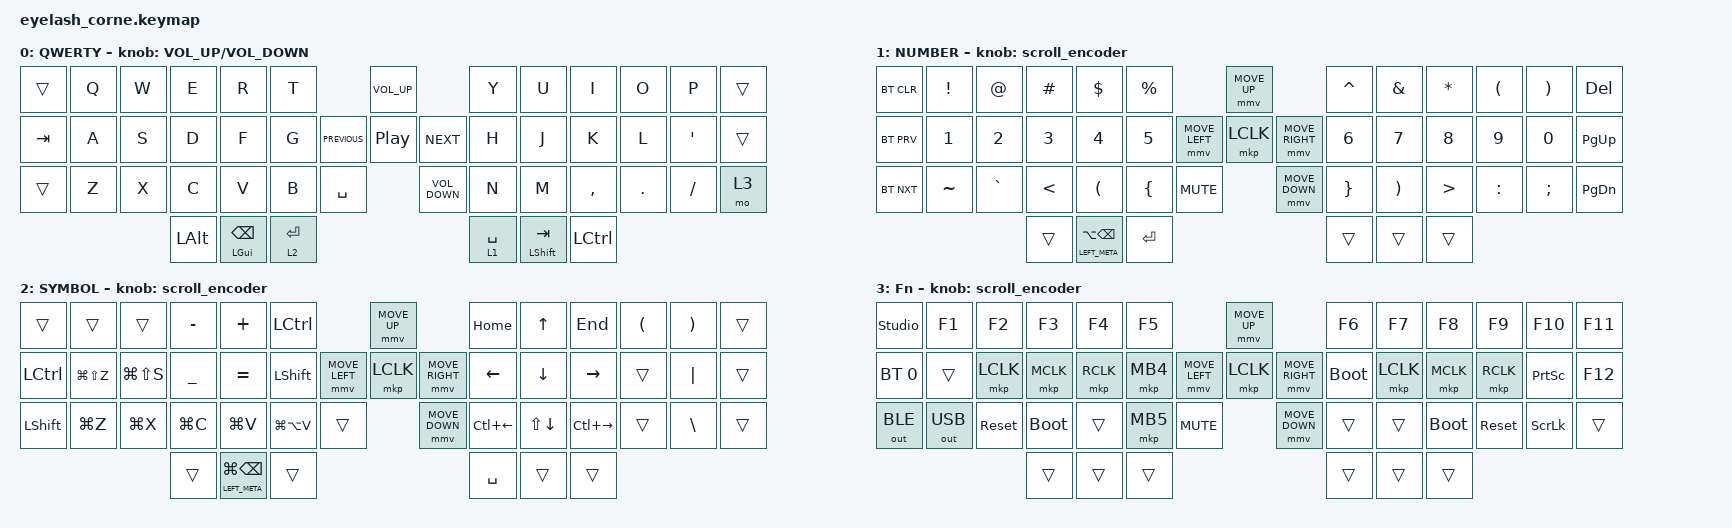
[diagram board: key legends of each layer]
#define ZMK_POINTING_DEFAULT_MOVE_VAL 1200  // 600
#define ZMK_POINTING_DEFAULT_SCRL_VAL 25   // 10

#include <input/processors.dtsi>
#include <zephyr/dt-bindings/input/input-event-codes.h>
#include <behaviors.dtsi>
#include <dt-bindings/zmk/bt.h>
#include <dt-bindings/zmk/keys.h>
#include <dt-bindings/zmk/outputs.h>
#include <dt-bindings/zmk/pointing.h>
#include <dt-bindings/zmk/rgb.h>

&mmv_input_listener { input-processors = <&zip_xy_scaler 2 1>; };

&msc_input_listener { input-processors = <&zip_scroll_scaler 2 1>; };

&msc {
    acceleration-exponent = <1>;      // 0
    time-to-max-speed-ms = <100>;       // 300
    delay-ms = <0>;                   // 0
};

&mmv {
    time-to-max-speed-ms = <500>;
    acceleration-exponent = <1>;
    trigger-period-ms = <16>;
};

/ {
    behaviors {
        td0: td0 {
            compatible = "zmk,behavior-tap-dance";
            display-name = "Shift/Caps Lock Tap Dance";
            #binding-cells = <0>;
            bindings = <&kp LEFT_SHIFT>, <&kp CAPS>;
        };
    };

    rgb_encoder: rgb_encoder {
        compatible = "zmk,behavior-sensor-rotate";
        #sensor-binding-cells = <0>;
        bindings = <&rgb_ug RGB_BRI>, <&rgb_ug RGB_BRD>;
    };

    scroll_encoder: scroll_encoder {
        compatible = "zmk,behavior-sensor-rotate";
        #sensor-binding-cells = <0>;
        bindings = <&msc SCRL_DOWN>, <&msc SCRL_UP>;

        tap-ms = <100>;
    };

    combos {
        compatible = "zmk,combos";

        esc-jk {
            bindings = <&kp ESCAPE>;
            key-positions = <23 24>;
        };
    };

    keymap {
        compatible = "zmk,keymap";

        default_layer {
            display-name = "QWERTY";
            bindings = <
&trans   &kp Q  &kp W  &kp E         &kp R                   &kp T                                     &kp C_VOLUME_UP                &kp Y        &kp U               &kp I             &kp O    &kp P     &trans
&kp TAB  &kp A  &kp S  &kp D         &kp F                   &kp G                     &kp C_PREVIOUS  &kp C_PLAY_PAUSE   &kp C_NEXT  &kp H        &kp J               &kp K             &kp L    &kp SQT   &trans
&trans   &kp Z  &kp X  &kp C         &kp V                   &kp B        &kp SPACE                    &kp C_VOLUME_DOWN              &kp N        &kp M               &kp COMMA         &kp DOT  &kp FSLH  &mo 3
                       &kp LEFT_ALT  &mt LEFT_GUI BACKSPACE  &lt 2 ENTER                                                              &lt 1 SPACE  &mt LEFT_SHIFT TAB  &kp LEFT_CONTROL
            >;

            sensor-bindings = <&inc_dec_kp C_VOLUME_UP C_VOLUME_DOWN>;
        };

        lower_layer {
            display-name = "NUMBER";
            bindings = <
&bt BT_CLR  &kp EXCLAMATION  &kp AT_SIGN   &kp HASH       &kp DOLLAR                   &kp PERCENT                                   &mmv MOVE_UP                     &kp CARET        &kp AMPERSAND          &kp ASTERISK      &kp LEFT_PARENTHESIS  &kp RIGHT_PARENTHESIS  &kp DEL
&bt BT_PRV  &kp NUMBER_1     &kp NUMBER_2  &kp NUMBER_3   &kp NUMBER_4                 &kp NUMBER_5                  &mmv MOVE_LEFT  &mkp LCLK       &mmv MOVE_RIGHT  &kp NUMBER_6     &kp N7                 &kp N8            &kp N9                &kp N0                 &kp PG_UP
&bt BT_NXT  &kp TILDE        &kp GRAVE     &kp LESS_THAN  &kp LEFT_PARENTHESIS         &kp LEFT_BRACE  &kp C_MUTE                    &mmv MOVE_DOWN                   &kp RIGHT_BRACE  &kp RIGHT_PARENTHESIS  &kp GREATER_THAN  &kp COLON             &kp SEMICOLON          &kp PG_DN
                                           &trans         &mt LEFT_META LA(BACKSPACE)  &kp ENTER                                                                      &trans           &trans                 &trans
            >;

            sensor-bindings = <&scroll_encoder>;
        };

        raise_layer {
            display-name = "SYMBOL";
            bindings = <
&trans          &trans         &trans         &kp MINUS       &kp PLUS                     &kp LCTRL                                 &mmv MOVE_UP                     &kp HOME      &kp UP_ARROW        &kp END        &kp LPAR  &kp RPAR       &trans
&kp LCTRL       &kp LG(LS(Z))  &kp LG(LS(S))  &kp UNDERSCORE  &kp EQUAL                    &kp LEFT_SHIFT            &mmv MOVE_LEFT  &mkp LCLK       &mmv MOVE_RIGHT  &kp LEFT      &kp DOWN            &kp RIGHT      &trans    &kp PIPE       &trans
&kp LEFT_SHIFT  &kp LG(Z)      &kp LG(X)      &kp LG(C)       &kp LG(V)                    &kp LG(LA(V))   &trans                    &mmv MOVE_DOWN                   &kp LC(LEFT)  &kp LS(DOWN_ARROW)  &kp LC(RIGHT)  &trans    &kp BACKSLASH  &trans
                                              &trans          &mt LEFT_META LG(BACKSPACE)  &trans                                                                     &kp SPACE     &trans              &trans
            >;

            sensor-bindings = <&scroll_encoder>;
        };

        layer_3 {
            display-name = "Fn";
            bindings = <
&studio_unlock  &kp F1        &kp F2      &kp F3       &kp F4     &kp F5                                  &mmv MOVE_UP                     &kp F6       &kp F7     &kp F8       &kp F9      &kp F10          &kp F11
&bt BT_SEL 0    &trans        &mkp LCLK   &mkp MCLK    &mkp RCLK  &mkp MB4                &mmv MOVE_LEFT  &mkp LCLK       &mmv MOVE_RIGHT  &bootloader  &mkp LCLK  &mkp MCLK    &mkp RCLK   &kp PRINTSCREEN  &kp F12
&out OUT_BLE    &out OUT_USB  &sys_reset  &bootloader  &trans     &mkp MB5  &kp C_MUTE                    &mmv MOVE_DOWN                   &trans       &trans     &bootloader  &sys_reset  &kp SCROLLLOCK   &trans
                                          &trans       &trans     &trans                                                                   &trans       &trans     &trans
            >;

            sensor-bindings = <&scroll_encoder>;
        };
    };
};
